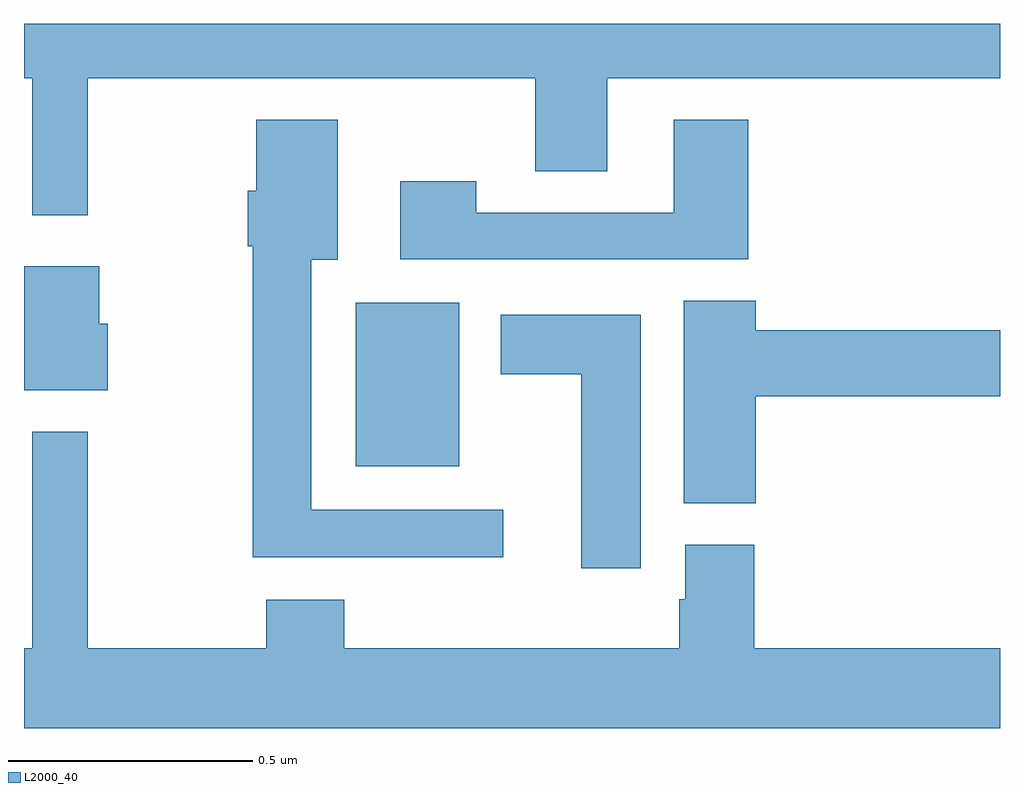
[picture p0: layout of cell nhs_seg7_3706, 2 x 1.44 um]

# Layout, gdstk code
import gdstk
lib = gdstk.Library(unit=1e-6, precision=1e-09)
def R(c, l, rs):  # rectangles x0, y0, x1, y1
    for r in rs: c.add(gdstk.rectangle(r[:2], r[2:], *l))
def P(c, l, *ps):  # polygons
    for p in ps: c.add(gdstk.Polygon(p, *l))
L2000_40 = (2000, 40)

nhs_seg7_3706 = lib.new_cell('nhs_seg7_3706')
R(nhs_seg7_3706, L2000_40, [(162.68,1061.093,162.892,1061.428)])
P(nhs_seg7_3706, L2000_40, [(162.131,1061.888),(163.048,1061.888),(163.048,1061.698),(163.195,1061.698),(163.195,1061.888),(164,1061.888),(164,1062),(162,1062),(162,1061.888),(162.017,1061.888),(162.017,1061.607),(162.131,1061.607)],
  [(162.982,1061.004),(162.589,1061.004),(162.589,1061.516),(162.643,1061.516),(162.643,1061.803),(162.476,1061.803),(162.476,1061.658),(162.458,1061.658),(162.458,1061.544),(162.469,1061.544),(162.469,1060.907),(162.982,1060.907)],
  [(163.484,1061.803),(163.331,1061.803),(163.331,1061.613),(162.927,1061.613),(162.927,1061.677),(162.771,1061.677),(162.771,1061.517),(163.484,1061.517)],
  [(162.172,1061.385),(162.154,1061.385),(162.154,1061.503),(162,1061.503),(162,1061.249),(162.172,1061.249)],
  [(163.499,1061.236),(164,1061.236),(164,1061.372),(163.499,1061.372),(163.499,1061.432),(163.352,1061.432),(163.352,1061.017),(163.499,1061.017)],
  [(163.264,1061.404),(162.977,1061.404),(162.977,1061.282),(163.142,1061.282),(163.142,1060.884),(163.264,1060.884)],
  [(164,1060.72),(163.496,1060.72),(163.496,1060.932),(163.355,1060.932),(163.355,1060.821),(163.343,1060.821),(163.343,1060.72),(162.656,1060.72),(162.656,1060.819),(162.496,1060.819),(162.496,1060.72),(162.131,1060.72),(162.131,1061.164),(162.017,1061.164),(162.017,1060.72),(162,1060.72),(162,1060.556),(164,1060.556)])

lib.write_gds('nhs_seg7_3706.gds')
